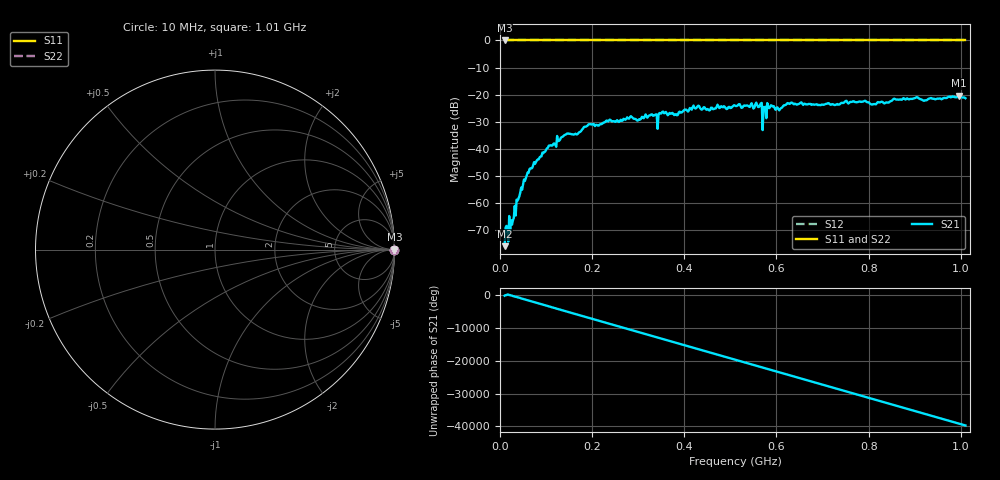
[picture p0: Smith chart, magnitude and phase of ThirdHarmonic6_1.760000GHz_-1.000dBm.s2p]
! 8/16/2025 9:14:55 PM
! C:\ANRITSUVNA\TEMP\TEMP.S2P
! CHANNEL.1
! TR.MEASUREMENT
! RAW.DATA
! RF.CORRECTION.OFF
! AVERAGING.OFF
! IF.BANDWIDTH: 5KHZ
! SWEEPTYPE:  FREQ.SWEEP(Linear)
! Reference Plane Port Info
! PORT:  PORT1  PORT2
! DISTANCE:  0  m  0  m
! TIME:  0  s  0  s
! PHASE.OFFSET:  0  deg.  0  deg.
! LOSS:  0  dB  0  dB
! REF.LOSS:  0  dB  0  dB
! REF.FREQ:  0  Hz  0  Hz
! Power Info
! POWER:  -20  dBm  -20  dBm
! EFF.POWER:  -20  dBm  -20  dBm
! SOURCE.ATTEN:  0  dB  0  dB
! TEST.ATTEN:  0  dB  0  dB
# GHZ S RI R 50.0
! FREQ.GHZ  S11RE  S11IM  S21RE  S21IM  S12RE  S12IM  S22RE  S22IM
!; PortSelection: Port_12
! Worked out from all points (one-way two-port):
!   501 points, 10 MHz to 1.01 GHz, reference 50 ohm
!   highest |S21| = -20.30 dB at 996 MHz (marker M1); lowest = -75.8 dB at 10 MHz (marker M2)
!   lowest |S11| = 0.0 dB at 10 MHz (marker M3)
!   |S11| at or under -10 dB: nowhere
!   |S22| runs from 0.0 to 0.0 dB; largest |S21 - S12| = 1.1
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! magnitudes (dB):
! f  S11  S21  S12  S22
! 10 MHz  0.0  -75.8  0.0  0.0
! 16 MHz  0.0  -69.2  0.0  0.0
! 26 MHz  0.0  -67.9  0.0  0.0
! 40 MHz  0.0  -58.3  0.0  0.0
! 64 MHz  0.0  -47.4  0.0  0.0
! 106 MHz  0.0  -38.8  0.0  0.0
! 144 MHz  0.0  -34.6  0.0  0.0
! 178 MHz  0.0  -32.8  0.0  0.0
! 236 MHz  0.0  -29.6  0.0  0.0
! 344 MHz  0.0  -27.4  0.0  0.0
! 350 MHz  0.0  -26.9  0.0  0.0
! 382 MHz  0.0  -27.1  0.0  0.0
! 428 MHz  0.0  -24.4  0.0  0.0
! 510 MHz  0.0  -24.0  0.0  0.0
! 564 MHz  0.0  -24.0  0.0  0.0
! 574 MHz  0.0  -24.7  0.0  0.0
! 576 MHz  0.0  -24.5  0.0  0.0
! 584 MHz  0.0  -25.0  0.0  0.0
! 678 MHz  0.0  -23.6  0.0  0.0
! 844 MHz  0.0  -22.8  0.0  0.0
! 996 MHz  0.0  -20.3  0.0  0.0
! 1.01 GHz  0.0  -21.3  0.0  0.0
